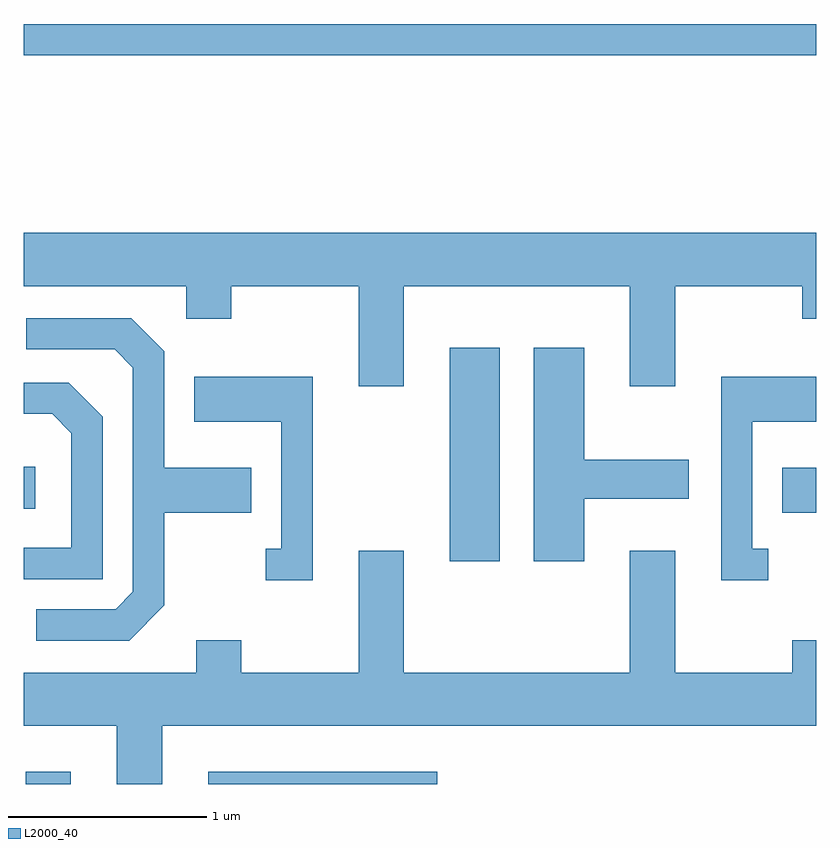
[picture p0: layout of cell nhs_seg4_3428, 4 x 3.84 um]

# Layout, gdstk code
import gdstk
lib = gdstk.Library(unit=1e-6, precision=1e-09)
def R(c, l, rs):  # rectangles x0, y0, x1, y1
    for r in rs: c.add(gdstk.rectangle(r[:2], r[2:], *l))
def P(c, l, *ps):  # polygons
    for p in ps: c.add(gdstk.Polygon(p, *l))
L2000_40 = (2000, 40)

nhs_seg4_3428 = lib.new_cell('nhs_seg4_3428')
R(nhs_seg4_3428, L2000_40, [(285.621,1309.982,285.849,1310.044), (286.541,1309.982,287.698,1310.044), (287.761,1311.106,288.014,1312.184), (289.441,1311.351,289.611,1311.579), (285.611,1311.371,285.669,1311.584), (285.611,1313.661,289.611,1313.819)])
P(nhs_seg4_3428, L2000_40, [(287.529,1312.496),(288.671,1312.496),(288.671,1311.991),(288.899,1311.991),(288.899,1312.496),(289.541,1312.496),(289.541,1312.331),(289.611,1312.331),(289.611,1312.764),(285.611,1312.764),(285.611,1312.496),(286.431,1312.496),(286.431,1312.331),(286.659,1312.331),(286.659,1312.496),(287.301,1312.496),(287.301,1311.991),(287.529,1311.991)],
  [(286.319,1310.884),(286.319,1311.351),(286.759,1311.351),(286.759,1311.579),(286.319,1311.579),(286.319,1312.167),(286.152,1312.334),(285.623,1312.334),(285.623,1312.176),(286.069,1312.176),(286.161,1312.084),(286.161,1310.952),(286.074,1310.864),(285.673,1310.864),(285.673,1310.706),(286.142,1310.706)],
  [(288.439,1311.421),(288.969,1311.421),(288.969,1311.619),(288.439,1311.619),(288.439,1312.184),(288.186,1312.184),(288.186,1311.106),(288.439,1311.106)],
  [(287.069,1312.039),(286.471,1312.039),(286.471,1311.811),(286.911,1311.811),(286.911,1311.169),(286.833,1311.169),(286.833,1311.011),(287.069,1311.011)],
  [(289.368,1311.169),(289.289,1311.169),(289.289,1311.811),(289.611,1311.811),(289.611,1312.039),(289.131,1312.039),(289.131,1311.011),(289.368,1311.011)],
  [(286.009,1311.837),(285.837,1312.009),(285.611,1312.009),(285.611,1311.851),(285.754,1311.851),(285.851,1311.754),(285.851,1311.174),(285.611,1311.174),(285.611,1311.016),(286.009,1311.016)],
  [(286.309,1310.276),(289.611,1310.276),(289.611,1310.709),(289.491,1310.709),(289.491,1310.544),(288.899,1310.544),(288.899,1311.159),(288.671,1311.159),(288.671,1310.544),(287.529,1310.544),(287.529,1311.159),(287.301,1311.159),(287.301,1310.544),(286.709,1310.544),(286.709,1310.709),(286.481,1310.709),(286.481,1310.544),(285.611,1310.544),(285.611,1310.276),(286.081,1310.276),(286.081,1309.982),(286.309,1309.982)])

lib.write_gds('nhs_seg4_3428.gds')
